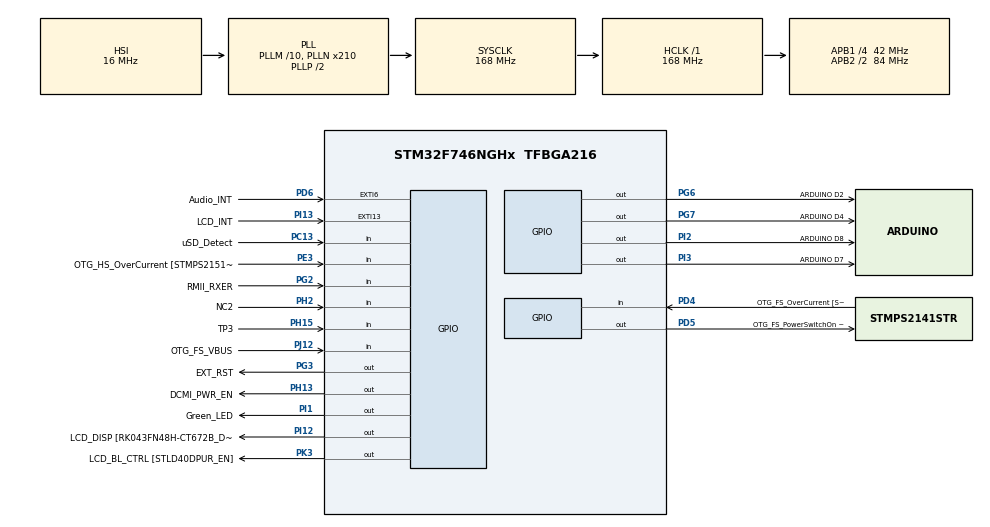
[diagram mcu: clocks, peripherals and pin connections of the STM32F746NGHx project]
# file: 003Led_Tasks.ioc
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Mcu.Family=STM32F7
Mcu.Name=STM32F746NGHx
Mcu.Package=TFBGA216
NVIC.PriorityGroup=NVIC_PRIORITYGROUP_4
NVIC.TIM6_DAC_IRQn=true\:15\:0\:false\:false\:true\:false\:true\:true
NVIC.TimeBase=TIM6_DAC_IRQn
NVIC.TimeBaseIP=TIM6
PA0/WKUP.GPIO_Label=ARDUINO A0
PA0/WKUP.GPIO_Mode=GPIO_MODE_ANALOG
PA0/WKUP.GPIO_PuPd=GPIO_NOPULL
PA0/WKUP.Signal=ADCx_IN0
PA1.GPIO_Label=RMII_REF_CLK [LAN8742A-CZ-TR_REFCLK0]
PA1.Signal=ETH_REF_CLK
PA10.GPIO_Label=OTG_FS_ID
PA10.Signal=USB_OTG_FS_ID
PA11.GPIO_Label=OTG_FS_N
PA11.Signal=USB_OTG_FS_DM
PA12.GPIO_Label=OTG_FS_P
PA12.Signal=USB_OTG_FS_DP
PA13.GPIO_Label=SWDIO
PA13.Signal=SYS_JTMS-SWDIO
PA14.GPIO_Label=SWCLK
PA14.Signal=SYS_JTCK-SWCLK
PA15.GPIO_Label=ARDUINO PWM/D9
PA15.GPIO_ModeDefaultPP=GPIO_MODE_AF_PP
PA15.GPIO_PuPd=GPIO_NOPULL
PA15.GPIO_Speed=GPIO_SPEED_FREQ_LOW
PA15.Signal=S_TIM2_CH1_ETR
PA2.GPIO_Label=RMII_MDIO [LAN8742A-CZ-TR_MDIO]
PA2.Signal=ETH_MDIO
PA3.GPIO_Label=ULPI_D0 [USB3320C-EZK_D0]
PA3.Signal=USB_OTG_HS_ULPI_D0
PA4.GPIO_Label=DCMI_HSYNC
PA4.Signal=DCMI_HSYNC
PA5.GPIO_Label=ULPI_CLK [USB3320C-EZK_CLKOUT]
PA5.Signal=USB_OTG_HS_ULPI_CK
PA6.Signal=DCMI_PIXCLK
PA7.GPIO_Label=RMII_CRS_DV [LAN8742A-CZ-TR_CRS_DV]
PA7.Signal=ETH_CRS_DV
PA8.GPIO_Label=ARDUINO PWM/D10
PA8.GPIO_ModeDefaultPP=GPIO_MODE_AF_PP
PA8.GPIO_PuPd=GPIO_NOPULL
PA8.GPIO_Speed=GPIO_SPEED_FREQ_LOW
PA8.Signal=S_TIM1_CH1
PA9.GPIO_Label=VCP_TX [STM32F103CBT6_PA3]
PA9.GPIO_Mode=GPIO_MODE_AF_PP
PA9.GPIO_PuPd=GPIO_NOPULL
PA9.GPIO_Speed=GPIO_SPEED_FREQ_LOW
PA9.Signal=USART1_TX
PB0.GPIO_Label=ULPI_D1 [USB3320C-EZK_D1]
PB0.Signal=USB_OTG_HS_ULPI_D1
PB1.GPIO_Label=ULPI_D2 [USB3320C-EZK_D2]
PB1.Signal=USB_OTG_HS_ULPI_D2
PB10.GPIO_Label=ULPI_D3 [USB3320C-EZK_D3]
PB10.Signal=USB_OTG_HS_ULPI_D3
PB11.GPIO_Label=ULPI_D4 [USB3320C-EZK_D4]
PB11.Signal=USB_OTG_HS_ULPI_D4
PB12.GPIO_Label=ULPI_D5 [USB3320C-EZK_D5]
PB12.Signal=USB_OTG_HS_ULPI_D5
PB13.GPIO_Label=ULPI_D6 [USB3320C-EZK_D6]
PB13.Signal=USB_OTG_HS_ULPI_D6
PB14.GPIO_Label=ARDUINO MISO/D12
PB14.GPIO_Mode=GPIO_MODE_AF_PP
PB14.GPIO_PuPd=GPIO_NOPULL
PB14.GPIO_Speed=GPIO_SPEED_FREQ_LOW
PB14.Signal=SPI2_MISO
PB15.GPIO_Label=ARDUINO MOSI/PWM/D11
PB15.GPIO_Mode=GPIO_MODE_AF_PP
PB15.GPIO_PuPd=GPIO_NOPULL
PB15.GPIO_Speed=GPIO_SPEED_FREQ_LOW
PB15.Signal=SPI2_MOSI
PB2.Signal=QUADSPI_CLK
PB3.GPIO_Label=SWO
PB3.Signal=SYS_JTDO-SWO
PB4.GPIO_Label=ARDUINO PWM/D3
PB4.GPIO_ModeDefaultPP=GPIO_MODE_AF_PP
PB4.GPIO_PuPd=GPIO_NOPULL
PB4.GPIO_Speed=GPIO_SPEED_FREQ_LOW
PB4.Signal=S_TIM3_CH1
PB5.GPIO_Label=ULPI_D7 [USB3320C-EZK_D7]
PB5.Signal=USB_OTG_HS_ULPI_D7
PB6.GPIO_Label=QSPI_NCS [N25Q128A13EF840E_S]
PB6.Signal=QUADSPI_BK1_NCS
PB7.GPIO_Label=VCP_RX [STM32F103CBT6_PA2]
PB7.GPIO_Mode=GPIO_MODE_AF_PP
PB7.GPIO_PuPd=GPIO_NOPULL
PB7.GPIO_Speed=GPIO_SPEED_FREQ_LOW
PB7.Signal=USART1_RX
PB8.GPIO_Label=ARDUINO SCL/D15
PB8.GPIO_Mode=GPIO_MODE_AF_OD
PB8.GPIO_PuPd=GPIO_NOPULL
PB8.GPIO_Speed=GPIO_SPEED_FREQ_LOW
PB8.Signal=I2C1_SCL
PB9.GPIO_Label=ARDUINO SDA/D14
PB9.GPIO_Mode=GPIO_MODE_AF_OD
PB9.GPIO_PuPd=GPIO_NOPULL
PB9.GPIO_Speed=GPIO_SPEED_FREQ_LOW
PB9.Signal=I2C1_SDA
PC0.GPIO_Label=ULPI_STP [USB3320C-EZK_STP]
PC0.Signal=USB_OTG_HS_ULPI_STP
PC1.GPIO_Label=RMII_MDC [LAN8742A-CZ-TR_MDC]
PC1.Signal=ETH_MDC
PC10.GPIO_Label=SDMMC_D2
PC10.Signal=SDMMC1_D2
PC11.GPIO_Label=SDMMC_D3
PC11.Signal=SDMMC1_D3
PC12.GPIO_Label=SDMMC_CK
PC12.Signal=SDMMC1_CK
PC13.GPIO_Label=uSD_Detect
PC13.Signal=GPIO_Input
PC14/OSC32_IN.GPIO_Label=RCC_OSC32_IN
PC14/OSC32_IN.Signal=RCC_OSC32_IN
PC15/OSC32_OUT.GPIO_Label=RCC_OSC32_OUT
PC15/OSC32_OUT.Signal=RCC_OSC32_OUT
PC2.GPIO_Label=ULPI_DIR [USB3320C-EZK_DIR]
PC2.Signal=USB_OTG_HS_ULPI_DIR
PC3.GPIO_Label=FMC_SDCKE0 [MT48LC4M32B2B5-6A_CKE]
PC3.Signal=FMC_SDCKE0
PC4.GPIO_Label=RMII_RXD0 [LAN8742A-CZ-TR_RXD0]
PC4.Signal=ETH_RXD0
PC5.GPIO_Label=RMII_RXD1 [LAN8742A-CZ-TR_RXD1]
PC5.Signal=ETH_RXD1
PC6.GPIO_Label=ARDUINO TX/D1
PC6.Signal=USART6_TX
PC7.GPIO_Label=ARDUINO RX/D0
PC7.Signal=USART6_RX
PC8.Signal=SDMMC1_D0
PC9.Signal=SDMMC1_D1
PD0.GPIO_Label=FMC_D2 [MT48LC4M32B2B5-6A_DQ2]
PD0.Signal=FMC_D2_DA2
PD1.GPIO_Label=FMC_D3 [MT48LC4M32B2B5-6A_DQ3]
PD1.Signal=FMC_D3_DA3
PD10.GPIO_Label=FMC_D15 [MT48LC4M32B2B5-6A_DQ15]
PD10.Signal=FMC_D15_DA15
PD11.GPIO_Label=QSPI_D0 [N25Q128A13EF840E_DQ0]
PD11.Signal=QUADSPI_BK1_IO0
PD12.GPIO_Label=QSPI_D1 [N25Q128A13EF840E_DQ1]
PD12.Signal=QUADSPI_BK1_IO1
PD13.GPIO_Label=QSPI_D3 [N25Q128A13EF840E_DQ3]
PD13.Signal=QUADSPI_BK1_IO3
PD14.GPIO_Label=FMC_D0 [MT48LC4M32B2B5-6A_DQ0]
PD14.Signal=FMC_D0_DA0
PD15.GPIO_Label=FMC_D1 [MT48LC4M32B2B5-6A_DQ1]
PD15.Signal=FMC_D1_DA1
PD2.GPIO_Label=SDMMC_D0
PD2.Signal=SDMMC1_CMD
PD3.GPIO_Label=DCMI_D5
PD3.Signal=DCMI_D5
PD4.GPIO_Label=OTG_FS_OverCurrent [STMPS2141STR_Fault]
PD4.Signal=GPIO_Input
PD5.GPIO_Label=OTG_FS_PowerSwitchOn [STMPS2141STR_EN]
PD5.PinState=GPIO_PIN_SET
PD5.Signal=GPIO_Output
PD6.GPIO_Label=Audio_INT
PD6.GPIO_ModeDefaultEXTI=GPIO_MODE_EVT_RISING
PD6.Signal=GPXTI6
PD7.GPIO_Label=SPDIF_RX0 [74LVC1G04SE_4]
PD7.Signal=SPDIFRX_IN0
PD8.GPIO_Label=FMC_D13 [MT48LC4M32B2B5-6A_DQ13]
PD8.Signal=FMC_D13_DA13
PD9.GPIO_Label=FMC_D14 [MT48LC4M32B2B5-6A_DQ14]
PD9.Signal=FMC_D14_DA14
PE0.GPIO_Label=FMC_NBL0 [MT48LC4M32B2B5-6A_DQM0]
PE0.Signal=FMC_NBL0
PE1.GPIO_Label=FMC_NBL1 [MT48LC4M32B2B5-6A_DQM1]
PE1.Signal=FMC_NBL1
PE10.GPIO_Label=FMC_D7 [MT48LC4M32B2B5-6A_DQ7]
PE10.Signal=FMC_D7_DA7
PE11.GPIO_Label=FMC_D8 [MT48LC4M32B2B5-6A_DQ8]
PE11.Signal=FMC_D8_DA8
PE12.GPIO_Label=FMC_D9 [MT48LC4M32B2B5-6A_DQ9]
PE12.Signal=FMC_D9_DA9
PE13.GPIO_Label=FMC_D10 [MT48LC4M32B2B5-6A_DQ10]
PE13.Signal=FMC_D10_DA10
PE14.GPIO_Label=FMC_D11 [MT48LC4M32B2B5-6A_DQ11]
PE14.Signal=FMC_D11_DA11
PE15.GPIO_Label=FMC_D12 [MT48LC4M32B2B5-6A_DQ12]
PE15.Signal=FMC_D12_DA12
PE2.GPIO_Label=QSPI_D2 [N25Q128A13EF840E_DQ2]
PE2.Signal=QUADSPI_BK1_IO2
PE3.GPIO_Label=OTG_HS_OverCurrent [STMPS2151STR_FAULT]
PE3.Signal=GPIO_Input
PE4.GPIO_Label=LCD_B0 [RK043FN48H-CT672B_B0]
PE4.Signal=LTDC_B0
PE5.GPIO_Label=DCMI_D6
PE5.Signal=DCMI_D6
PE6.GPIO_Label=DCMI_D7
PE6.Signal=DCMI_D7
PE7.GPIO_Label=FMC_D4 [MT48LC4M32B2B5-6A_DQ4]
PE7.Signal=FMC_D4_DA4
PE8.GPIO_Label=FMC_D5 [MT48LC4M32B2B5-6A_DQ5]
PE8.Signal=FMC_D5_DA5
PE9.GPIO_Label=FMC_D6 [MT48LC4M32B2B5-6A_DQ6]
PE9.Signal=FMC_D6_DA6
PF0.GPIO_Label=FMC_A0 [MT48LC4M32B2B5-6A_A0]
PF0.Signal=FMC_A0
PF1.GPIO_Label=FMC_A1 [MT48LC4M32B2B5-6A_A1]
PF1.Signal=FMC_A1
PF10.GPIO_Label=ARDUINO A1
PF10.GPIO_Mode=GPIO_MODE_ANALOG
PF10.GPIO_PuPd=GPIO_NOPULL
PF10.Signal=ADC3_IN8
PF11.GPIO_Label=FMC_SDNRAS [MT48LC4M32B2B5-6A_RAS]
PF11.Signal=FMC_SDNRAS
PF12.GPIO_Label=FMC_A6 [MT48LC4M32B2B5-6A_A6]
PF12.Signal=FMC_A6
PF13.GPIO_Label=FMC_A7 [MT48LC4M32B2B5-6A_A7]
PF13.Signal=FMC_A7
PF14.GPIO_Label=FMC_A8 [MT48LC4M32B2B5-6A_A8]
PF14.Signal=FMC_A8
PF15.GPIO_Label=FMC_A9 [MT48LC4M32B2B5-6A_A9]
PF15.Signal=FMC_A9
PF2.GPIO_Label=FMC_A2 [MT48LC4M32B2B5-6A_A2]
PF2.Signal=FMC_A2
PF3.GPIO_Label=FMC_A3 [MT48LC4M32B2B5-6A_A3]
PF3.Signal=FMC_A3
PF4.GPIO_Label=FMC_A4 [MT48LC4M32B2B5-6A_A4]
PF4.Signal=FMC_A4
PF5.GPIO_Label=FMC_A5 [MT48LC4M32B2B5-6A_A5]
PF5.Signal=FMC_A5
PF6.GPIO_Label=ARDUINO A5
PF6.GPIO_Mode=GPIO_MODE_ANALOG
PF6.GPIO_PuPd=GPIO_NOPULL
PF6.Signal=ADC3_IN4
PF7.GPIO_Label=ARDUINO A4
PF7.GPIO_Mode=GPIO_MODE_ANALOG
PF7.GPIO_PuPd=GPIO_NOPULL
PF7.Signal=ADC3_IN5
PF8.GPIO_Label=ARDUINO A3
PF8.GPIO_Mode=GPIO_MODE_ANALOG
PF8.GPIO_PuPd=GPIO_NOPULL
PF8.Signal=ADC3_IN6
PF9.GPIO_Label=ARDUINO A2
PF9.GPIO_Mode=GPIO_MODE_ANALOG
PF9.GPIO_PuPd=GPIO_NOPULL
PF9.Signal=ADC3_IN7
PG0.GPIO_Label=FMC_A10 [MT48LC4M32B2B5-6A_A10]
PG0.Signal=FMC_A10
PG1.GPIO_Label=FMC_A11 [MT48LC4M32B2B5-6A_A11]
PG1.Signal=FMC_A11
PG10.GPIO_Label=SAI2_SDB [WM8994ECS/R_ADCDAT1]
PG10.Signal=SAI2_SD_B
PG11.GPIO_Label=RMII_TX_EN [LAN8742A-CZ-TR_TXEN]
PG11.Signal=ETH_TX_EN
PG12.GPIO_Label=LCD_B4 [RK043FN48H-CT672B_B4]
PG12.Signal=LTDC_B4
PG13.GPIO_Label=RMII_TXD0 [LAN8742A-CZ-TR_TXD0]
PG13.Signal=ETH_TXD0
PG14.GPIO_Label=RMII_TXD1 [LAN8742A-CZ-TR_TXD1]
PG14.Signal=ETH_TXD1
PG15.GPIO_Label=FMC_SDNCAS [MT48LC4M32B2B5-6A_CAS]
PG15.Signal=FMC_SDNCAS
PG2.GPIO_Label=RMII_RXER
PG2.Signal=GPIO_Input
PG3.GPIO_Label=EXT_RST
PG3.Signal=GPIO_Output
PG4.GPIO_Label=FMC_BA0 [MT48LC4M32B2B5-6A_BA0]
PG4.Signal=FMC_A14_BA0
PG5.GPIO_Label=FMC_BA1 [MT48LC4M32B2B5-6A_BA1]
PG5.Signal=FMC_A15_BA1
PG6.GPIO_Label=ARDUINO D2
PG6.Signal=GPIO_Output
PG7.GPIO_Label=ARDUINO D4
PG7.Signal=GPIO_Output
PG8.GPIO_Label=FMC_SDCLK [MT48LC4M32B2B5-6A_CLK]
PG8.Signal=FMC_SDCLK
PG9.GPIO_Label=DCMI_VSYNC
PG9.Signal=DCMI_VSYNC
PH0/OSC_IN.GPIO_Label=OSC_25M [NZ2520SB-25.00M_OUT]
PH0/OSC_IN.Signal=RCC_OSC_IN
PH1/OSC_OUT.Signal=RCC_OSC_OUT
PH10.GPIO_Label=DCMI_D1
PH10.Signal=DCMI_D1
PH11.GPIO_Label=DCMI_D2
PH11.Signal=DCMI_D2
PH12.GPIO_Label=DCMI_D3
PH12.Signal=DCMI_D3
PH13.GPIO_Label=DCMI_PWR_EN
PH13.Signal=GPIO_Output
PH14.GPIO_Label=DCMI_D4
PH14.Signal=DCMI_D4
PH15.GPIO_Label=TP3
PH15.Signal=GPIO_Input
PH2.GPIO_Label=NC2
PH2.Signal=GPIO_Input
PH3.GPIO_Label=FMC_SDNE0 [MT48LC4M32B2B5-6A_CS]
PH3.Signal=FMC_SDNE0
PH4.GPIO_Label=ULPI_NXT [USB3320C-EZK_NXT]
PH4.Signal=USB_OTG_HS_ULPI_NXT
PH5.GPIO_Label=FMC_SDNME [MT48LC4M32B2B5-6A_WE]
PH5.Signal=FMC_SDNWE
PH6.GPIO_Label=ARDUINO PWM/D6
PH6.Signal=S_TIM12_CH1
PH7.GPIO_Label=LCD_SCL [RK043FN48H-CT672B_SCL]
PH7.Signal=I2C3_SCL
PH8.GPIO_Label=LCD_SDA [RK043FN48H-CT672B_SDA]
PH8.Signal=I2C3_SDA
PH9.GPIO_Label=DCMI_D0
PH9.Signal=DCMI_D0
PI0.GPIO_Label=ARDUINO PWM/CS/D5
PI0.GPIO_ModeDefaultPP=GPIO_MODE_AF_PP
PI0.GPIO_PuPd=GPIO_NOPULL
PI0.GPIO_Speed=GPIO_SPEED_FREQ_LOW
PI0.Signal=S_TIM5_CH4
PI1.GPIO_Label=Green_LED
PI1.Signal=GPIO_Output
PI10.GPIO_Label=LCD_HSYNC [RK043FN48H-CT672B_HSYNC]
PI10.Signal=LTDC_HSYNC
PI12.GPIO_Label=LCD_DISP [RK043FN48H-CT672B_DISP] 
PI12.Signal=GPIO_Output
PI13.GPIO_Label=LCD_INT
PI13.GPIO_ModeDefaultEXTI=GPIO_MODE_EVT_RISING
PI13.Signal=GPXTI13
PI14.GPIO_Label=LCD_CLK [RK043FN48H-CT672B_CLK]
PI14.Signal=LTDC_CLK
PI15.GPIO_Label=LCD_R0 [RK043FN48H-CT672B_R0]
PI15.Signal=LTDC_R0
PI2.GPIO_Label=ARDUINO D8
PI2.Signal=GPIO_Output
PI3.GPIO_Label=ARDUINO D7
PI3.Signal=GPIO_Output
PI4.GPIO_Label=SAI2_MCLKA [WM8994ECS/R_MCLK1]
PI4.Signal=SAI2_MCLK_A
PI5.GPIO_Label=SAI2_SCKA [WM8994ECS/R_BCLK1]
PI5.Signal=SAI2_SCK_A
PI6.GPIO_Label=SAI2_SDA [WM8994ECS/R_DACDAT1]
PI6.Signal=SAI2_SD_A
PI7.GPIO_Label=SAI2_FSA [WM8994ECS/R_LRCLK1]
PI7.Signal=SAI2_FS_A
PI8.GPIO_Label=NC1 [TP2]
PI8.Signal=RTC_TS
PI9.GPIO_Label=LCD_VSYNC [RK043FN48H-CT672B_VSYNC]
PI9.Signal=LTDC_VSYNC
PJ0.GPIO_Label=LCD_R1 [RK043FN48H-CT672B_R1]
PJ0.Signal=LTDC_R1
PJ1.GPIO_Label=LCD_R2 [RK043FN48H-CT672B_R2]
PJ1.Signal=LTDC_R2
PJ10.GPIO_Label=LCD_G3 [RK043FN48H-CT672B_G3]
PJ10.Signal=LTDC_G3
PJ11.GPIO_Label=LCD_G4 [RK043FN48H-CT672B_G4]
PJ11.Signal=LTDC_G4
PJ12.GPIO_Label=OTG_FS_VBUS
PJ12.Signal=GPIO_Input
PJ13.GPIO_Label=LCD_B1 [RK043FN48H-CT672B_B1]
PJ13.Signal=LTDC_B1
PJ14.GPIO_Label=LCD_B2 [RK043FN48H-CT672B_B2]
PJ14.Signal=LTDC_B2
PJ15.GPIO_Label=LCD_B3 [RK043FN48H-CT672B_B3]
PJ15.Signal=LTDC_B3
PJ2.GPIO_Label=LCD_R3 [RK043FN48H-CT672B_R3]
PJ2.Signal=LTDC_R3
PJ3.GPIO_Label=LCD_R4 [RK043FN48H-CT672B_R4]
PJ3.Signal=LTDC_R4
PJ4.GPIO_Label=LCD_R5 [RK043FN48H-CT672B_R5]
PJ4.Signal=LTDC_R5
PJ5.GPIO_Label=LCD_R6 [RK043FN48H-CT672B_R6]
PJ5.Signal=LTDC_R6
PJ6.GPIO_Label=LCD_R7 [RK043FN48H-CT672B_R7]
PJ6.Signal=LTDC_R7
PJ7.GPIO_Label=LCD_G0 [RK043FN48H-CT672B_G0]
PJ7.Signal=LTDC_G0
PJ8.GPIO_Label=LCD_G1 [RK043FN48H-CT672B_G1]
PJ8.Signal=LTDC_G1
PJ9.GPIO_Label=LCD_G2 [RK043FN48H-CT672B_G2]
PJ9.Signal=LTDC_G2
PK0.GPIO_Label=LCD_G5 [RK043FN48H-CT672B_G5]
PK0.Signal=LTDC_G5
PK1.GPIO_Label=LCD_G6 [RK043FN48H-CT672B_G6]
PK1.Signal=LTDC_G6
PK2.GPIO_Label=LCD_G7 [RK043FN48H-CT672B_G7]
PK2.Signal=LTDC_G7
PK3.GPIO_Label=LCD_BL_CTRL [STLD40DPUR_EN]
PK3.Signal=GPIO_Output
PK4.GPIO_Label=LCD_B5 [RK043FN48H-CT672B_B5]
PK4.Signal=LTDC_B5
PK5.GPIO_Label=LCD_B6 [RK043FN48H-CT672B_B6]
PK5.Signal=LTDC_B6
PK6.GPIO_Label=LCD_B7 [RK043FN48H-CT672B_B7]
PK6.Signal=LTDC_B7
PK7.GPIO_Label=LCD_DE [RK043FN48H-CT672B_DE]
PK7.Signal=LTDC_DE
ProjectManager.HeapSize=0x200
ProjectManager.StackSize=0x400
ProjectManager.TargetToolchain=STM32CubeIDE
RCC.AHBFreq_Value=168000000
RCC.APB1CLKDivider=RCC_HCLK_DIV4
RCC.APB1Freq_Value=42000000
RCC.APB1TimFreq_Value=84000000
RCC.APB2CLKDivider=RCC_HCLK_DIV2
RCC.APB2Freq_Value=84000000
RCC.APB2TimFreq_Value=168000000
RCC.CortexFreq_Value=168000000
RCC.HCLKFreq_Value=168000000
RCC.HSE_VALUE=25000000
RCC.HSI_VALUE=16000000
RCC.LSE_VALUE=32768
RCC.PLLM=10
RCC.PLLN=210
RCC.PLLSourceVirtual=RCC_PLLSOURCE_HSI
RCC.SYSCLKFreq_VALUE=168000000
RCC.SYSCLKSource=RCC_SYSCLKSOURCE_PLLCLK
RCC.USBFreq_Value=168000000
RCC.VCOOutputFreq_Value=336000000
SH.ADCx_IN0.0=ADC3_IN0
SH.FMC_A0.0=FMC_A0
SH.FMC_A1.0=FMC_A1
SH.FMC_A10.0=FMC_A10
SH.FMC_A11.0=FMC_A11
SH.FMC_A14_BA0.0=FMC_BA0
SH.FMC_A15_BA1.0=FMC_BA1
SH.FMC_A2.0=FMC_A2
SH.FMC_A3.0=FMC_A3
SH.FMC_A4.0=FMC_A4
SH.FMC_A5.0=FMC_A5
SH.FMC_A6.0=FMC_A6
SH.FMC_A7.0=FMC_A7
SH.FMC_A8.0=FMC_A8
SH.FMC_A9.0=FMC_A9
SH.FMC_D0_DA0.0=FMC_D0
SH.FMC_D10_DA10.0=FMC_D10
SH.FMC_D11_DA11.0=FMC_D11
SH.FMC_D12_DA12.0=FMC_D12
SH.FMC_D13_DA13.0=FMC_D13
SH.FMC_D14_DA14.0=FMC_D14
SH.FMC_D15_DA15.0=FMC_D15
SH.FMC_D1_DA1.0=FMC_D1
SH.FMC_D2_DA2.0=FMC_D2
SH.FMC_D3_DA3.0=FMC_D3
SH.FMC_D4_DA4.0=FMC_D4
SH.FMC_D5_DA5.0=FMC_D5
SH.FMC_D6_DA6.0=FMC_D6
SH.FMC_D7_DA7.0=FMC_D7
SH.FMC_D8_DA8.0=FMC_D8
SH.FMC_D9_DA9.0=FMC_D9
SH.FMC_NBL0.0=FMC_NBL0
SH.FMC_NBL1.0=FMC_NBL1
SH.FMC_SDCLK.0=FMC_SDCLK
SH.FMC_SDNCAS.0=FMC_SDNCAS
SH.FMC_SDNRAS.0=FMC_SDNRAS
SH.FMC_SDNWE.0=FMC_SDNWE
SH.S_TIM12_CH1.0=TIM12_CH1
SH.S_TIM1_CH1.0=TIM1_CH1
SH.S_TIM2_CH1_ETR.0=TIM2_CH1
SH.S_TIM3_CH1.0=TIM3_CH1
SH.S_TIM5_CH4.0=TIM5_CH4
VP_SYS_VS_tim6.Mode=TIM6
board=STM32F746G-DISCO

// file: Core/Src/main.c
/* USER CODE BEGIN Header */
/**
  ******************************************************************************
  * @file           : main.c
  * @brief          : Main program body
  ******************************************************************************
  * @attention
  *
  * Copyright (c) 2025 STMicroelectronics.
  * All rights reserved.
  *
  * This software is licensed under terms that can be found in the LICENSE file
  * in the root directory of this software component.
  * If no LICENSE file comes with this software, it is provided AS-IS.
  *
  ******************************************************************************
  */
/* USER CODE END Header */
#include "main.h"

/* USER CODE BEGIN Includes */
#include "FreeRTOS.h"
#include "task.h"
/* USER CODE END Includes */

void SystemClock_Config(void);
static void MX_GPIO_Init(void);
/* USER CODE BEGIN PFP */
static void led_handler(void * parameters);
/* USER CODE END PFP */

/* USER CODE BEGIN 0 */
void vAssertCalled(uint32_t ulLine, const char *pcFile)
{
    __disable_irq();
    while(1);
}
/* USER CODE END 0 */

int main(void)
{

  /* USER CODE BEGIN 1 */
	TaskHandle_t led_handle;

	BaseType_t status;
  /* USER CODE END 1 */

  /* MCU Configuration--------------------------------------------------------*/

  /* Reset of all peripherals, Initializes the Flash interface and the Systick. */
  HAL_Init();

  /* Configure the system clock */
  SystemClock_Config();

  /* Initialize all configured peripherals */
  MX_GPIO_Init();
  /* USER CODE BEGIN 2 */

  status = xTaskCreate(led_handler, "Led_task", 200, NULL, 2, &led_handle);
  configASSERT(status==pdPASS);

  vTaskStartScheduler();
  /* USER CODE END 2 */

  /* Infinite loop */
  while (1)
  {

  }
}

void SystemClock_Config(void)
{
  RCC_OscInitTypeDef RCC_OscInitStruct = {0};
  RCC_ClkInitTypeDef RCC_ClkInitStruct = {0};

  /** Configure the main internal regulator output voltage
  */
  __HAL_RCC_PWR_CLK_ENABLE();
  __HAL_PWR_VOLTAGESCALING_CONFIG(PWR_REGULATOR_VOLTAGE_SCALE2);

  /** Initializes the RCC Oscillators according to the specified parameters
  * in the RCC_OscInitTypeDef structure.
  */
  RCC_OscInitStruct.OscillatorType = RCC_OSCILLATORTYPE_HSI;
  RCC_OscInitStruct.HSIState = RCC_HSI_ON;
  RCC_OscInitStruct.HSICalibrationValue = RCC_HSICALIBRATION_DEFAULT;
  RCC_OscInitStruct.PLL.PLLState = RCC_PLL_ON;
  RCC_OscInitStruct.PLL.PLLSource = RCC_PLLSOURCE_HSI;
  RCC_OscInitStruct.PLL.PLLM = 10;
  RCC_OscInitStruct.PLL.PLLN = 210;
  RCC_OscInitStruct.PLL.PLLP = RCC_PLLP_DIV2;
  RCC_OscInitStruct.PLL.PLLQ = 2;
  if (HAL_RCC_OscConfig(&RCC_OscInitStruct) != HAL_OK)
  {
    Error_Handler();
  }

  /** Initializes the CPU, AHB and APB buses clocks
  */
  RCC_ClkInitStruct.ClockType = RCC_CLOCKTYPE_HCLK|RCC_CLOCKTYPE_SYSCLK
                              |RCC_CLOCKTYPE_PCLK1|RCC_CLOCKTYPE_PCLK2;
  RCC_ClkInitStruct.SYSCLKSource = RCC_SYSCLKSOURCE_PLLCLK;
  RCC_ClkInitStruct.AHBCLKDivider = RCC_SYSCLK_DIV1;
  RCC_ClkInitStruct.APB1CLKDivider = RCC_HCLK_DIV4;
  RCC_ClkInitStruct.APB2CLKDivider = RCC_HCLK_DIV2;

  if (HAL_RCC_ClockConfig(&RCC_ClkInitStruct, FLASH_LATENCY_5) != HAL_OK)
  {
    Error_Handler();
  }
}

static void MX_GPIO_Init(void)
{
  GPIO_InitTypeDef GPIO_InitStruct = {0};

  /* GPIO Ports Clock Enable */
  __HAL_RCC_GPIOE_CLK_ENABLE();
  __HAL_RCC_GPIOG_CLK_ENABLE();
  __HAL_RCC_GPIOB_CLK_ENABLE();
  __HAL_RCC_GPIOD_CLK_ENABLE();
  __HAL_RCC_GPIOC_CLK_ENABLE();
  __HAL_RCC_GPIOA_CLK_ENABLE();
  __HAL_RCC_GPIOJ_CLK_ENABLE();
  __HAL_RCC_GPIOI_CLK_ENABLE();
  __HAL_RCC_GPIOK_CLK_ENABLE();
  __HAL_RCC_GPIOF_CLK_ENABLE();
  __HAL_RCC_GPIOH_CLK_ENABLE();

  /*Configure GPIO pin Output Level */
  HAL_GPIO_WritePin(OTG_FS_PowerSwitchOn_GPIO_Port, OTG_FS_PowerSwitchOn_Pin, GPIO_PIN_SET);

  /*Configure GPIO pin Output Level */
  HAL_GPIO_WritePin(GPIOI, ARDUINO_D7_Pin|ARDUINO_D8_Pin|Green_LED_Pin|LCD_DISP_Pin, GPIO_PIN_RESET);

  /*Configure GPIO pin Output Level */
  HAL_GPIO_WritePin(LCD_BL_CTRL_GPIO_Port, LCD_BL_CTRL_Pin, GPIO_PIN_RESET);

  /*Configure GPIO pin Output Level */
  HAL_GPIO_WritePin(DCMI_PWR_EN_GPIO_Port, DCMI_PWR_EN_Pin, GPIO_PIN_RESET);

  /*Configure GPIO pin Output Level */
  HAL_GPIO_WritePin(GPIOG, ARDUINO_D4_Pin|ARDUINO_D2_Pin|EXT_RST_Pin, GPIO_PIN_RESET);

  /*Configure GPIO pin : LCD_B0_Pin */
  GPIO_InitStruct.Pin = LCD_B0_Pin;
  GPIO_InitStruct.Mode = GPIO_MODE_AF_PP;
  GPIO_InitStruct.Pull = GPIO_NOPULL;
  GPIO_InitStruct.Speed = GPIO_SPEED_FREQ_LOW;
  GPIO_InitStruct.Alternate = GPIO_AF14_LTDC;
  HAL_GPIO_Init(LCD_B0_GPIO_Port, &GPIO_InitStruct);

  /*Configure GPIO pin : OTG_HS_OverCurrent_Pin */
  GPIO_InitStruct.Pin = OTG_HS_OverCurrent_Pin;
  GPIO_InitStruct.Mode = GPIO_MODE_INPUT;
  GPIO_InitStruct.Pull = GPIO_NOPULL;
  HAL_GPIO_Init(OTG_HS_OverCurrent_GPIO_Port, &GPIO_InitStruct);

  /*Configure GPIO pin : QSPI_D2_Pin */
  GPIO_InitStruct.Pin = QSPI_D2_Pin;
  GPIO_InitStruct.Mode = GPIO_MODE_AF_PP;
  GPIO_InitStruct.Pull = GPIO_NOPULL;
  GPIO_InitStruct.Speed = GPIO_SPEED_FREQ_VERY_HIGH;
  GPIO_InitStruct.Alternate = GPIO_AF9_QUADSPI;
  HAL_GPIO_Init(QSPI_D2_GPIO_Port, &GPIO_InitStruct);

  /*Configure GPIO pins : RMII_TXD1_Pin RMII_TXD0_Pin RMII_TX_EN_Pin */
  GPIO_InitStruct.Pin = RMII_TXD1_Pin|RMII_TXD0_Pin|RMII_TX_EN_Pin;
  GPIO_InitStruct.Mode = GPIO_MODE_AF_PP;
  GPIO_InitStruct.Pull = GPIO_NOPULL;
  GPIO_InitStruct.Speed = GPIO_SPEED_FREQ_VERY_HIGH;
  GPIO_InitStruct.Alternate = GPIO_AF11_ETH;
  HAL_GPIO_Init(GPIOG, &GPIO_InitStruct);

  /*Configure GPIO pins : FMC_NBL1_Pin FMC_NBL0_Pin FMC_D5_Pin FMC_D6_Pin
                           FMC_D8_Pin FMC_D11_Pin FMC_D4_Pin FMC_D7_Pin
                           FMC_D9_Pin FMC_D12_Pin FMC_D10_Pin */
  GPIO_InitStruct.Pin = FMC_NBL1_Pin|FMC_NBL0_Pin|FMC_D5_Pin|FMC_D6_Pin
                          |FMC_D8_Pin|FMC_D11_Pin|FMC_D4_Pin|FMC_D7_Pin
                          |FMC_D9_Pin|FMC_D12_Pin|FMC_D10_Pin;
  GPIO_InitStruct.Mode = GPIO_MODE_AF_PP;
  GPIO_InitStruct.Pull = GPIO_NOPULL;
  GPIO_InitStruct.Speed = GPIO_SPEED_FREQ_VERY_HIGH;
  GPIO_InitStruct.Alternate = GPIO_AF12_FMC;
  HAL_GPIO_Init(GPIOE, &GPIO_InitStruct);

  /*Configure GPIO pins : ARDUINO_SCL_D15_Pin ARDUINO_SDA_D14_Pin */
  GPIO_InitStruct.Pin = ARDUINO_SCL_D15_Pin|ARDUINO_SDA_D14_Pin;
  GPIO_InitStruct.Mode = GPIO_MODE_AF_OD;
  GPIO_InitStruct.Pull = GPIO_NOPULL;
  GPIO_InitStruct.Speed = GPIO_SPEED_FREQ_LOW;
  GPIO_InitStruct.Alternate = GPIO_AF4_I2C1;
  HAL_GPIO_Init(GPIOB, &GPIO_InitStruct);

  /*Configure GPIO pins : ULPI_D7_Pin ULPI_D6_Pin ULPI_D5_Pin ULPI_D3_Pin
                           ULPI_D2_Pin ULPI_D1_Pin ULPI_D4_Pin */
  GPIO_InitStruct.Pin = ULPI_D7_Pin|ULPI_D6_Pin|ULPI_D5_Pin|ULPI_D3_Pin
                          |ULPI_D2_Pin|ULPI_D1_Pin|ULPI_D4_Pin;
  GPIO_InitStruct.Mode = GPIO_MODE_AF_PP;
  GPIO_InitStruct.Pull = GPIO_NOPULL;
  GPIO_InitStruct.Speed = GPIO_SPEED_FREQ_VERY_HIGH;
  GPIO_InitStruct.Alternate = GPIO_AF10_OTG_HS;
  HAL_GPIO_Init(GPIOB, &GPIO_InitStruct);

  /*Configure GPIO pin : ARDUINO_PWM_D3_Pin */
  GPIO_InitStruct.Pin = ARDUINO_PWM_D3_Pin;
  GPIO_InitStruct.Mode = GPIO_MODE_AF_PP;
  GPIO_InitStruct.Pull = GPIO_NOPULL;
  GPIO_InitStruct.Speed = GPIO_SPEED_FREQ_LOW;
  GPIO_InitStruct.Alternate = GPIO_AF2_TIM3;
  HAL_GPIO_Init(ARDUINO_PWM_D3_GPIO_Port, &GPIO_InitStruct);

  /*Configure GPIO pin : SPDIF_RX0_Pin */
  GPIO_InitStruct.Pin = SPDIF_RX0_Pin;
  GPIO_InitStruct.Mode = GPIO_MODE_AF_PP;
  GPIO_InitStruct.Pull = GPIO_NOPULL;
  GPIO_InitStruct.Speed = GPIO_SPEED_FREQ_LOW;
  GPIO_InitStruct.Alternate = GPIO_AF8_SPDIFRX;
  HAL_GPIO_Init(SPDIF_RX0_GPIO_Port, &GPIO_InitStruct);

  /*Configure GPIO pins : SDMMC_CK_Pin SDMMC_D3_Pin SDMMC_D2_Pin PC9
                           PC8 */
  GPIO_InitStruct.Pin = SDMMC_CK_Pin|SDMMC_D3_Pin|SDMMC_D2_Pin|GPIO_PIN_9
                          |GPIO_PIN_8;
  GPIO_InitStruct.Mode = GPIO_MODE_AF_PP;
  GPIO_InitStruct.Pull = GPIO_NOPULL;
  GPIO_InitStruct.Speed = GPIO_SPEED_FREQ_VERY_HIGH;
  GPIO_InitStruct.Alternate = GPIO_AF12_SDMMC1;
  HAL_GPIO_Init(GPIOC, &GPIO_InitStruct);

  /*Configure GPIO pin : ARDUINO_PWM_D9_Pin */
  GPIO_InitStruct.Pin = ARDUINO_PWM_D9_Pin;
  GPIO_InitStruct.Mode = GPIO_MODE_AF_PP;
  GPIO_InitStruct.Pull = GPIO_NOPULL;
  GPIO_InitStruct.Speed = GPIO_SPEED_FREQ_LOW;
  GPIO_InitStruct.Alternate = GPIO_AF1_TIM2;
  HAL_GPIO_Init(ARDUINO_PWM_D9_GPIO_Port, &GPIO_InitStruct);

  /*Configure GPIO pins : DCMI_D6_Pin DCMI_D7_Pin */
  GPIO_InitStruct.Pin = DCMI_D6_Pin|DCMI_D7_Pin;
  GPIO_InitStruct.Mode = GPIO_MODE_AF_PP;
  GPIO_InitStruct.Pull = GPIO_NOPULL;
  GPIO_InitStruct.Speed = GPIO_SPEED_FREQ_LOW;
  GPIO_InitStruct.Alternate = GPIO_AF13_DCMI;
  HAL_GPIO_Init(GPIOE, &GPIO_InitStruct);

  /*Configure GPIO pin : VCP_RX_Pin */
  GPIO_InitStruct.Pin = VCP_RX_Pin;
  GPIO_InitStruct.Mode = GPIO_MODE_AF_PP;
  GPIO_InitStruct.Pull = GPIO_NOPULL;
  GPIO_InitStruct.Speed = GPIO_SPEED_FREQ_LOW;
  GPIO_InitStruct.Alternate = GPIO_AF7_USART1;
  HAL_GPIO_Init(VCP_RX_GPIO_Port, &GPIO_InitStruct);

  /*Configure GPIO pin : QSPI_NCS_Pin */
  GPIO_InitStruct.Pin = QSPI_NCS_Pin;
  GPIO_InitStruct.Mode = GPIO_MODE_AF_PP;
  GPIO_InitStruct.Pull = GPIO_NOPULL;
  GPIO_InitStruct.Speed = GPIO_SPEED_FREQ_VERY_HIGH;
  GPIO_InitStruct.Alternate = GPIO_AF10_QUADSPI;
  HAL_GPIO_Init(QSPI_NCS_GPIO_Port, &GPIO_InitStruct);

  /*Configure GPIO pins : FMC_SDNCAS_Pin FMC_SDCLK_Pin FMC_A11_Pin FMC_A10_Pin
                           FMC_BA1_Pin FMC_BA0_Pin */
  GPIO_InitStruct.Pin = FMC_SDNCAS_Pin|FMC_SDCLK_Pin|FMC_A11_Pin|FMC_A10_Pin
                          |FMC_BA1_Pin|FMC_BA0_Pin;
  GPIO_InitStruct.Mode = GPIO_MODE_AF_PP;
  GPIO_InitStruct.Pull = GPIO_NOPULL;
  GPIO_InitStruct.Speed = GPIO_SPEED_FREQ_VERY_HIGH;
  GPIO_InitStruct.Alternate = GPIO_AF12_FMC;
  HAL_GPIO_Init(GPIOG, &GPIO_InitStruct);

  /*Configure GPIO pins : LCD_B1_Pin LCD_B2_Pin LCD_B3_Pin LCD_G4_Pin
                           LCD_G1_Pin LCD_G3_Pin LCD_G0_Pin LCD_G2_Pin
                           LCD_R7_Pin LCD_R5_Pin LCD_R6_Pin LCD_R4_Pin
                           LCD_R3_Pin LCD_R1_Pin LCD_R2_Pin */
  GPIO_InitStruct.Pin = LCD_B1_Pin|LCD_B2_Pin|LCD_B3_Pin|LCD_G4_Pin
                          |LCD_G1_Pin|LCD_G3_Pin|LCD_G0_Pin|LCD_G2_Pin
                          |LCD_R7_Pin|LCD_R5_Pin|LCD_R6_Pin|LCD_R4_Pin
                          |LCD_R3_Pin|LCD_R1_Pin|LCD_R2_Pin;
  GPIO_InitStruct.Mode = GPIO_MODE_AF_PP;
  GPIO_InitStruct.Pull = GPIO_NOPULL;
  GPIO_InitStruct.Speed = GPIO_SPEED_FREQ_LOW;
  GPIO_InitStruct.Alternate = GPIO_AF14_LTDC;
  HAL_GPIO_Init(GPIOJ, &GPIO_InitStruct);

  /*Configure GPIO pin : OTG_FS_VBUS_Pin */
  GPIO_InitStruct.Pin = OTG_FS_VBUS_Pin;
  GPIO_InitStruct.Mode = GPIO_MODE_INPUT;
  GPIO_InitStruct.Pull = GPIO_NOPULL;
  HAL_GPIO_Init(OTG_FS_VBUS_GPIO_Port, &GPIO_InitStruct);

  /*Configure GPIO pin : Audio_INT_Pin */
  GPIO_InitStruct.Pin = Audio_INT_Pin;
  GPIO_InitStruct.Mode = GPIO_MODE_EVT_RISING;
  GPIO_InitStruct.Pull = GPIO_NOPULL;
  HAL_GPIO_Init(Audio_INT_GPIO_Port, &GPIO_InitStruct);

  /*Configure GPIO pins : FMC_D2_Pin FMC_D3_Pin FMC_D1_Pin FMC_D15_Pin
                           FMC_D0_Pin FMC_D14_Pin FMC_D13_Pin */
  GPIO_InitStruct.Pin = FMC_D2_Pin|FMC_D3_Pin|FMC_D1_Pin|FMC_D15_Pin
                          |FMC_D0_Pin|FMC_D14_Pin|FMC_D13_Pin;
  GPIO_InitStruct.Mode = GPIO_MODE_AF_PP;
  GPIO_InitStruct.Pull = GPIO_NOPULL;
  GPIO_InitStruct.Speed = GPIO_SPEED_FREQ_VERY_HIGH;
  GPIO_InitStruct.Alternate = GPIO_AF12_FMC;
  HAL_GPIO_Init(GPIOD, &GPIO_InitStruct);

  /*Configure GPIO pins : OTG_FS_P_Pin OTG_FS_N_Pin OTG_FS_ID_Pin */
  GPIO_InitStruct.Pin = OTG_FS_P_Pin|OTG_FS_N_Pin|OTG_FS_ID_Pin;
  GPIO_InitStruct.Mode = GPIO_MODE_AF_PP;
  GPIO_InitStruct.Pull = GPIO_NOPULL;
  GPIO_InitStruct.Speed = GPIO_SPEED_FREQ_VERY_HIGH;
  GPIO_InitStruct.Alternate = GPIO_AF10_OTG_FS;
  HAL_GPIO_Init(GPIOA, &GPIO_InitStruct);

  /*Configure GPIO pins : SAI2_MCLKA_Pin SAI2_SCKA_Pin SAI2_FSA_Pin SAI2_SDA_Pin */
  GPIO_InitStruct.Pin = SAI2_MCLKA_Pin|SAI2_SCKA_Pin|SAI2_FSA_Pin|SAI2_SDA_Pin;
  GPIO_InitStruct.Mode = GPIO_MODE_AF_PP;
  GPIO_InitStruct.Pull = GPIO_NOPULL;
  GPIO_InitStruct.Speed = GPIO_SPEED_FREQ_LOW;
  GPIO_InitStruct.Alternate = GPIO_AF10_SAI2;
  HAL_GPIO_Init(GPIOI, &GPIO_InitStruct);

  /*Configure GPIO pins : LCD_DE_Pin LCD_B7_Pin LCD_B6_Pin LCD_B5_Pin
                           LCD_G6_Pin LCD_G7_Pin LCD_G5_Pin */
  GPIO_InitStruct.Pin = LCD_DE_Pin|LCD_B7_Pin|LCD_B6_Pin|LCD_B5_Pin
                          |LCD_G6_Pin|LCD_G7_Pin|LCD_G5_Pin;
  GPIO_InitStruct.Mode = GPIO_MODE_AF_PP;
  GPIO_InitStruct.Pull = GPIO_NOPULL;
  GPIO_InitStruct.Speed = GPIO_SPEED_FREQ_LOW;
  GPIO_InitStruct.Alternate = GPIO_AF14_LTDC;
  HAL_GPIO_Init(GPIOK, &GPIO_InitStruct);

  /*Configure GPIO pin : LCD_B4_Pin */
  GPIO_InitStruct.Pin = LCD_B4_Pin;
  GPIO_InitStruct.Mode = GPIO_MODE_AF_PP;
  GPIO_InitStruct.Pull = GPIO_NOPULL;
  GPIO_InitStruct.Speed = GPIO_SPEED_FREQ_LOW;
  GPIO_InitStruct.Alternate = GPIO_AF9_LTDC;
  HAL_GPIO_Init(LCD_B4_GPIO_Port, &GPIO_InitStruct);

  /*Configure GPIO pin : SAI2_SDB_Pin */
  GPIO_InitStruct.Pin = SAI2_SDB_Pin;
  GPIO_InitStruct.Mode = GPIO_MODE_AF_PP;
  GPIO_InitStruct.Pull = GPIO_NOPULL;
  GPIO_InitStruct.Speed = GPIO_SPEED_FREQ_LOW;
  GPIO_InitStruct.Alternate = GPIO_AF10_SAI2;
  HAL_GPIO_Init(SAI2_SDB_GPIO_Port, &GPIO_InitStruct);

  /*Configure GPIO pin : OTG_FS_PowerSwitchOn_Pin */
  GPIO_InitStruct.Pin = OTG_FS_PowerSwitchOn_Pin;
  GPIO_InitStruct.Mode = GPIO_MODE_OUTPUT_PP;
  GPIO_InitStruct.Pull = GPIO_NOPULL;
  GPIO_InitStruct.Speed = GPIO_SPEED_FREQ_LOW;
  HAL_GPIO_Init(OTG_FS_PowerSwitchOn_GPIO_Port, &GPIO_InitStruct);

  /*Configure GPIO pin : DCMI_D5_Pin */
  GPIO_InitStruct.Pin = DCMI_D5_Pin;
  GPIO_InitStruct.Mode = GPIO_MODE_AF_PP;
  GPIO_InitStruct.Pull = GPIO_NOPULL;
  GPIO_InitStruct.Speed = GPIO_SPEED_FREQ_LOW;
  GPIO_InitStruct.Alternate = GPIO_AF13_DCMI;
  HAL_GPIO_Init(DCMI_D5_GPIO_Port, &GPIO_InitStruct);

  /*Configure GPIO pins : ARDUINO_D7_Pin ARDUINO_D8_Pin Green_LED_Pin LCD_DISP_Pin */
  GPIO_InitStruct.Pin = ARDUINO_D7_Pin|ARDUINO_D8_Pin|Green_LED_Pin|LCD_DISP_Pin;
  GPIO_InitStruct.Mode = GPIO_MODE_OUTPUT_PP;
  GPIO_InitStruct.Pull = GPIO_NOPULL;
  GPIO_InitStruct.Speed = GPIO_SPEED_FREQ_LOW;
  HAL_GPIO_Init(GPIOI, &GPIO_InitStruct);

  /*Configure GPIO pin : uSD_Detect_Pin */
  GPIO_InitStruct.Pin = uSD_Detect_Pin;
  GPIO_InitStruct.Mode = GPIO_MODE_INPUT;
  GPIO_InitStruct.Pull = GPIO_NOPULL;
  HAL_GPIO_Init(uSD_Detect_GPIO_Port, &GPIO_InitStruct);

  /*Configure GPIO pins : FMC_A0_Pin FMC_A1_Pin FMC_A2_Pin FMC_A3_Pin
                           FMC_A4_Pin FMC_A5_Pin FMC_A6_Pin FMC_A9_Pin
                           FMC_A7_Pin FMC_A8_Pin FMC_SDNRAS_Pin */
  GPIO_InitStruct.Pin = FMC_A0_Pin|FMC_A1_Pin|FMC_A2_Pin|FMC_A3_Pin
                          |FMC_A4_Pin|FMC_A5_Pin|FMC_A6_Pin|FMC_A9_Pin
                          |FMC_A7_Pin|FMC_A8_Pin|FMC_SDNRAS_Pin;
  GPIO_InitStruct.Mode = GPIO_MODE_AF_PP;
  GPIO_InitStruct.Pull = GPIO_NOPULL;
  GPIO_InitStruct.Speed = GPIO_SPEED_FREQ_VERY_HIGH;
  GPIO_InitStruct.Alternate = GPIO_AF12_FMC;
  HAL_GPIO_Init(GPIOF, &GPIO_InitStruct);

  /*Configure GPIO pins : LCD_HSYNC_Pin LCD_VSYNC_Pin LCD_R0_Pin LCD_CLK_Pin */
  GPIO_InitStruct.Pin = LCD_HSYNC_Pin|LCD_VSYNC_Pin|LCD_R0_Pin|LCD_CLK_Pin;
  GPIO_InitStruct.Mode = GPIO_MODE_AF_PP;
  GPIO_InitStruct.Pull = GPIO_NOPULL;
  GPIO_InitStruct.Speed = GPIO_SPEED_FREQ_LOW;
  GPIO_InitStruct.Alternate = GPIO_AF14_LTDC;
  HAL_GPIO_Init(GPIOI, &GPIO_InitStruct);

  /*Configure GPIO pin : LCD_BL_CTRL_Pin */
  GPIO_InitStruct.Pin = LCD_BL_CTRL_Pin;
  GPIO_InitStruct.Mode = GPIO_MODE_OUTPUT_PP;
  GPIO_InitStruct.Pull = GPIO_NOPULL;
  GPIO_InitStruct.Speed = GPIO_SPEED_FREQ_LOW;
  HAL_GPIO_Init(LCD_BL_CTRL_GPIO_Port, &GPIO_InitStruct);

  /*Configure GPIO pin : DCMI_VSYNC_Pin */
  GPIO_InitStruct.Pin = DCMI_VSYNC_Pin;
  GPIO_InitStruct.Mode = GPIO_MODE_AF_PP;
  GPIO_InitStruct.Pull = GPIO_NOPULL;
  GPIO_InitStruct.Speed = GPIO_SPEED_FREQ_LOW;
  GPIO_InitStruct.Alternate = GPIO_AF13_DCMI;
  HAL_GPIO_Init(DCMI_VSYNC_GPIO_Port, &GPIO_InitStruct);

  /*Configure GPIO pin : OTG_FS_OverCurrent_Pin */
  GPIO_InitStruct.Pin = OTG_FS_OverCurrent_Pin;
  GPIO_InitStruct.Mode = GPIO_MODE_INPUT;
  GPIO_InitStruct.Pull = GPIO_NOPULL;
  HAL_GPIO_Init(OTG_FS_OverCurrent_GPIO_Port, &GPIO_InitStruct);

  /*Configure GPIO pin : SDMMC_D0_Pin */
  GPIO_InitStruct.Pin = SDMMC_D0_Pin;
  GPIO_InitStruct.Mode = GPIO_MODE_AF_PP;
  GPIO_InitStruct.Pull = GPIO_NOPULL;
  GPIO_InitStruct.Speed = GPIO_SPEED_FREQ_VERY_HIGH;
  GPIO_InitStruct.Alternate = GPIO_AF12_SDMMC1;
  HAL_GPIO_Init(SDMMC_D0_GPIO_Port, &GPIO_InitStruct);

  /*Configure GPIO pins : TP3_Pin NC2_Pin */
  GPIO_InitStruct.Pin = TP3_Pin|NC2_Pin;
  GPIO_InitStruct.Mode = GPIO_MODE_INPUT;
  GPIO_InitStruct.Pull = GPIO_NOPULL;
  HAL_GPIO_Init(GPIOH, &GPIO_InitStruct);

  /*Configure GPIO pin : DCMI_PWR_EN_Pin */
  GPIO_InitStruct.Pin = DCMI_PWR_EN_Pin;
  GPIO_InitStruct.Mode = GPIO_MODE_OUTPUT_PP;
  GPIO_InitStruct.Pull = GPIO_NOPULL;
  GPIO_InitStruct.Speed = GPIO_SPEED_FREQ_LOW;
  HAL_GPIO_Init(DCMI_PWR_EN_GPIO_Port, &GPIO_InitStruct);

  /*Configure GPIO pins : DCMI_D4_Pin DCMI_D3_Pin DCMI_D0_Pin DCMI_D2_Pin
                           DCMI_D1_Pin */
  GPIO_InitStruct.Pin = DCMI_D4_Pin|DCMI_D3_Pin|DCMI_D0_Pin|DCMI_D2_Pin
                          |DCMI_D1_Pin;
  GPIO_InitStruct.Mode = GPIO_MODE_AF_PP;
  GPIO_InitStruct.Pull = GPIO_NOPULL;
  GPIO_InitStruct.Speed = GPIO_SPEED_FREQ_LOW;
  GPIO_InitStruct.Alternate = GPIO_AF13_DCMI;
  HAL_GPIO_Init(GPIOH, &GPIO_InitStruct);

  /*Configure GPIO pin : ARDUINO_PWM_CS_D5_Pin */
  GPIO_InitStruct.Pin = ARDUINO_PWM_CS_D5_Pin;
  GPIO_InitStruct.Mode = GPIO_MODE_AF_PP;
  GPIO_InitStruct.Pull = GPIO_NOPULL;
  GPIO_InitStruct.Speed = GPIO_SPEED_FREQ_LOW;
  GPIO_InitStruct.Alternate = GPIO_AF2_TIM5;
  HAL_GPIO_Init(ARDUINO_PWM_CS_D5_GPIO_Port, &GPIO_InitStruct);

  /*Configure GPIO pin : VCP_TX_Pin */
  GPIO_InitStruct.Pin = VCP_TX_Pin;
  GPIO_InitStruct.Mode = GPIO_MODE_AF_PP;
  GPIO_InitStruct.Pull = GPIO_NOPULL;
  GPIO_InitStruct.Speed = GPIO_SPEED_FREQ_LOW;
  GPIO_InitStruct.Alternate = GPIO_AF7_USART1;
  HAL_GPIO_Init(VCP_TX_GPIO_Port, &GPIO_InitStruct);

  /*Configure GPIO pin : ARDUINO_PWM_D10_Pin */
  GPIO_InitStruct.Pin = ARDUINO_PWM_D10_Pin;
  GPIO_InitStruct.Mode = GPIO_MODE_AF_PP;
  GPIO_InitStruct.Pull = GPIO_NOPULL;
  GPIO_InitStruct.Speed = GPIO_SPEED_FREQ_LOW;
  GPIO_InitStruct.Alternate = GPIO_AF1_TIM1;
  HAL_GPIO_Init(ARDUINO_PWM_D10_GPIO_Port, &GPIO_InitStruct);

  /*Configure GPIO pin : LCD_INT_Pin */
  GPIO_InitStruct.Pin = LCD_INT_Pin;
  GPIO_InitStruct.Mode = GPIO_MODE_EVT_RISING;
  GPIO_InitStruct.Pull = GPIO_NOPULL;
  HAL_GPIO_Init(LCD_INT_GPIO_Port, &GPIO_InitStruct);

  /*Configure GPIO pins : ARDUINO_RX_D0_Pin ARDUINO_TX_D1_Pin */
  GPIO_InitStruct.Pin = ARDUINO_RX_D0_Pin|ARDUINO_TX_D1_Pin;
  GPIO_InitStruct.Mode = GPIO_MODE_AF_PP;
  GPIO_InitStruct.Pull = GPIO_NOPULL;
  GPIO_InitStruct.Speed = GPIO_SPEED_FREQ_VERY_HIGH;
  GPIO_InitStruct.Alternate = GPIO_AF8_USART6;
  HAL_GPIO_Init(GPIOC, &GPIO_InitStruct);

  /*Configure GPIO pin : ULPI_NXT_Pin */
  GPIO_InitStruct.Pin = ULPI_NXT_Pin;
  GPIO_InitStruct.Mode = GPIO_MODE_AF_PP;
  GPIO_InitStruct.Pull = GPIO_NOPULL;
  GPIO_InitStruct.Speed = GPIO_SPEED_FREQ_VERY_HIGH;
  GPIO_InitStruct.Alternate = GPIO_AF10_OTG_HS;
  HAL_GPIO_Init(ULPI_NXT_GPIO_Port, &GPIO_InitStruct);

  /*Configure GPIO pins : FMC_SDNME_Pin FMC_SDNE0_Pin */
  GPIO_InitStruct.Pin = FMC_SDNME_Pin|FMC_SDNE0_Pin;
  GPIO_InitStruct.Mode = GPIO_MODE_AF_PP;
  GPIO_InitStruct.Pull = GPIO_NOPULL;
  GPIO_InitStruct.Speed = GPIO_SPEED_FREQ_VERY_HIGH;
  GPIO_InitStruct.Alternate = GPIO_AF12_FMC;
  HAL_GPIO_Init(GPIOH, &GPIO_InitStruct);

  /*Configure GPIO pins : ARDUINO_D4_Pin ARDUINO_D2_Pin EXT_RST_Pin */
  GPIO_InitStruct.Pin = ARDUINO_D4_Pin|ARDUINO_D2_Pin|EXT_RST_Pin;
  GPIO_InitStruct.Mode = GPIO_MODE_OUTPUT_PP;
  GPIO_InitStruct.Pull = GPIO_NOPULL;
  GPIO_InitStruct.Speed = GPIO_SPEED_FREQ_LOW;
  HAL_GPIO_Init(GPIOG, &GPIO_InitStruct);

  /*Configure GPIO pins : ARDUINO_A4_Pin ARDUINO_A5_Pin ARDUINO_A1_Pin ARDUINO_A2_Pin
                           ARDUINO_A3_Pin */
  GPIO_InitStruct.Pin = ARDUINO_A4_Pin|ARDUINO_A5_Pin|ARDUINO_A1_Pin|ARDUINO_A2_Pin
                          |ARDUINO_A3_Pin;
  GPIO_InitStruct.Mode = GPIO_MODE_ANALOG;
  GPIO_InitStruct.Pull = GPIO_NOPULL;
  HAL_GPIO_Init(GPIOF, &GPIO_InitStruct);

  /*Configure GPIO pin : FMC_SDCKE0_Pin */
  GPIO_InitStruct.Pin = FMC_SDCKE0_Pin;
  GPIO_InitStruct.Mode = GPIO_MODE_AF_PP;
  GPIO_InitStruct.Pull = GPIO_NOPULL;
  GPIO_InitStruct.Speed = GPIO_SPEED_FREQ_VERY_HIGH;
  GPIO_InitStruct.Alternate = GPIO_AF12_FMC;
  HAL_GPIO_Init(FMC_SDCKE0_GPIO_Port, &GPIO_InitStruct);

  /*Configure GPIO pins : ULPI_STP_Pin ULPI_DIR_Pin */
  GPIO_InitStruct.Pin = ULPI_STP_Pin|ULPI_DIR_Pin;
  GPIO_InitStruct.Mode = GPIO_MODE_AF_PP;
  GPIO_InitStruct.Pull = GPIO_NOPULL;
  GPIO_InitStruct.Speed = GPIO_SPEED_FREQ_VERY_HIGH;
  GPIO_InitStruct.Alternate = GPIO_AF10_OTG_HS;
  HAL_GPIO_Init(GPIOC, &GPIO_InitStruct);

  /*Configure GPIO pins : RMII_MDC_Pin RMII_RXD0_Pin RMII_RXD1_Pin */
  GPIO_InitStruct.Pin = RMII_MDC_Pin|RMII_RXD0_Pin|RMII_RXD1_Pin;
  GPIO_InitStruct.Mode = GPIO_MODE_AF_PP;
  GPIO_InitStruct.Pull = GPIO_NOPULL;
  GPIO_InitStruct.Speed = GPIO_SPEED_FREQ_VERY_HIGH;
  GPIO_InitStruct.Alternate = GPIO_AF11_ETH;
  HAL_GPIO_Init(GPIOC, &GPIO_InitStruct);

  /*Configure GPIO pin : PB2 */
  GPIO_InitStruct.Pin = GPIO_PIN_2;
  GPIO_InitStruct.Mode = GPIO_MODE_AF_PP;
  GPIO_InitStruct.Pull = GPIO_NOPULL;
  GPIO_InitStruct.Speed = GPIO_SPEED_FREQ_VERY_HIGH;
  GPIO_InitStruct.Alternate = GPIO_AF9_QUADSPI;
  HAL_GPIO_Init(GPIOB, &GPIO_InitStruct);

  /*Configure GPIO pins : QSPI_D1_Pin QSPI_D3_Pin QSPI_D0_Pin */
  GPIO_InitStruct.Pin = QSPI_D1_Pin|QSPI_D3_Pin|QSPI_D0_Pin;
  GPIO_InitStruct.Mode = GPIO_MODE_AF_PP;
  GPIO_InitStruct.Pull = GPIO_NOPULL;
  GPIO_InitStruct.Speed = GPIO_SPEED_FREQ_VERY_HIGH;
  GPIO_InitStruct.Alternate = GPIO_AF9_QUADSPI;
  HAL_GPIO_Init(GPIOD, &GPIO_InitStruct);

  /*Configure GPIO pin : RMII_RXER_Pin */
  GPIO_InitStruct.Pin = RMII_RXER_Pin;
  GPIO_InitStruct.Mode = GPIO_MODE_INPUT;
  GPIO_InitStruct.Pull = GPIO_NOPULL;
  HAL_GPIO_Init(RMII_RXER_GPIO_Port, &GPIO_InitStruct);

  /*Configure GPIO pins : RMII_REF_CLK_Pin RMII_MDIO_Pin RMII_CRS_DV_Pin */
  GPIO_InitStruct.Pin = RMII_REF_CLK_Pin|RMII_MDIO_Pin|RMII_CRS_DV_Pin;
  GPIO_InitStruct.Mode = GPIO_MODE_AF_PP;
  GPIO_InitStruct.Pull = GPIO_NOPULL;
  GPIO_InitStruct.Speed = GPIO_SPEED_FREQ_VERY_HIGH;
  GPIO_InitStruct.Alternate = GPIO_AF11_ETH;
  HAL_GPIO_Init(GPIOA, &GPIO_InitStruct);

  /*Configure GPIO pin : ARDUINO_A0_Pin */
  GPIO_InitStruct.Pin = ARDUINO_A0_Pin;
  GPIO_InitStruct.Mode = GPIO_MODE_ANALOG;
  GPIO_InitStruct.Pull = GPIO_NOPULL;
  HAL_GPIO_Init(ARDUINO_A0_GPIO_Port, &GPIO_InitStruct);

  /*Configure GPIO pins : DCMI_HSYNC_Pin PA6 */
  GPIO_InitStruct.Pin = DCMI_HSYNC_Pin|GPIO_PIN_6;
  GPIO_InitStruct.Mode = GPIO_MODE_AF_PP;
  GPIO_InitStruct.Pull = GPIO_NOPULL;
  GPIO_InitStruct.Speed = GPIO_SPEED_FREQ_LOW;
  GPIO_InitStruct.Alternate = GPIO_AF13_DCMI;
  HAL_GPIO_Init(GPIOA, &GPIO_InitStruct);

  /*Configure GPIO pins : LCD_SCL_Pin LCD_SDA_Pin */
  GPIO_InitStruct.Pin = LCD_SCL_Pin|LCD_SDA_Pin;
  GPIO_InitStruct.Mode = GPIO_MODE_AF_OD;
  GPIO_InitStruct.Pull = GPIO_NOPULL;
  GPIO_InitStruct.Speed = GPIO_SPEED_FREQ_VERY_HIGH;
  GPIO_InitStruct.Alternate = GPIO_AF4_I2C3;
  HAL_GPIO_Init(GPIOH, &GPIO_InitStruct);

  /*Configure GPIO pins : ULPI_CLK_Pin ULPI_D0_Pin */
  GPIO_InitStruct.Pin = ULPI_CLK_Pin|ULPI_D0_Pin;
  GPIO_InitStruct.Mode = GPIO_MODE_AF_PP;
  GPIO_InitStruct.Pull = GPIO_NOPULL;
  GPIO_InitStruct.Speed = GPIO_SPEED_FREQ_VERY_HIGH;
  GPIO_InitStruct.Alternate = GPIO_AF10_OTG_HS;
  HAL_GPIO_Init(GPIOA, &GPIO_InitStruct);

  /*Configure GPIO pin : ARDUINO_PWM_D6_Pin */
  GPIO_InitStruct.Pin = ARDUINO_PWM_D6_Pin;
  GPIO_InitStruct.Mode = GPIO_MODE_AF_PP;
  GPIO_InitStruct.Pull = GPIO_NOPULL;
  GPIO_InitStruct.Speed = GPIO_SPEED_FREQ_LOW;
  GPIO_InitStruct.Alternate = GPIO_AF9_TIM12;
  HAL_GPIO_Init(ARDUINO_PWM_D6_GPIO_Port, &GPIO_InitStruct);

  /*Configure GPIO pins : ARDUINO_MISO_D12_Pin ARDUINO_MOSI_PWM_D11_Pin */
  GPIO_InitStruct.Pin = ARDUINO_MISO_D12_Pin|ARDUINO_MOSI_PWM_D11_Pin;
  GPIO_InitStruct.Mode = GPIO_MODE_AF_PP;
  GPIO_InitStruct.Pull = GPIO_NOPULL;
  GPIO_InitStruct.Speed = GPIO_SPEED_FREQ_LOW;
  GPIO_InitStruct.Alternate = GPIO_AF5_SPI2;
  HAL_GPIO_Init(GPIOB, &GPIO_InitStruct);

}

/* USER CODE BEGIN 4 */
static void led_handler(void *parameters)
{
	TickType_t last_wakeup_time;
	last_wakeup_time =xTaskGetTickCount();
	while(1)
	{
		HAL_GPIO_TogglePin(GPIOI, GPIO_PIN_1);
		//HAL_Delay(500);
		vTaskDelayUntil(&last_wakeup_time,pdMS_TO_TICKS(1000));
	}
}
/* USER CODE END 4 */

void HAL_TIM_PeriodElapsedCallback(TIM_HandleTypeDef *htim)
{
  if (htim->Instance == TIM6) {
    HAL_IncTick();
  }
}

void Error_Handler(void)
{
  __disable_irq();
  while (1)
  {
  }
}
